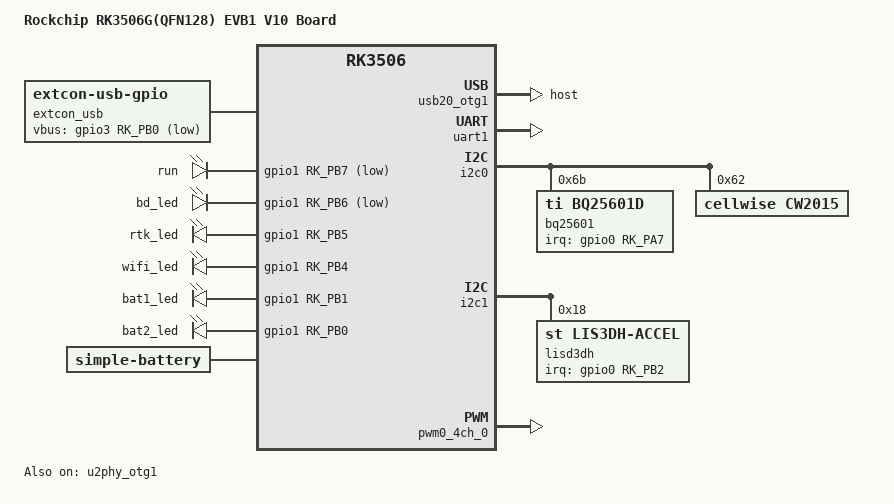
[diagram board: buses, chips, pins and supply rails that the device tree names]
// SPDX-License-Identifier: (GPL-2.0+ OR MIT)
/*
 * Copyright (c) 2024 Rockchip Electronics Co., Ltd.
 */

/dts-v1/;

#include "rk3506-my-base-nand.dtsi"

/ {
	model = "Rockchip RK3506G(QFN128) EVB1 V10 Board";
	compatible = "rockchip,rk3506g-evb1-v10", "rockchip,rk3506";

	chosen {
		bootargs = "earlycon=uart8250,mmio32,0xff0a0000 console=ttyFIQ0 ubi.mtd=2 root=ubi0:rootfs rw rootfstype=ubifs rootwait snd_aloop.index=7 snd_aloop.use_raw_jiffies=1";
	};

	extcon_usb: extcon-usb {
		compatible = "linux,extcon-usb-gpio";
		vbus-gpio = <&gpio3 RK_PB0 GPIO_ACTIVE_LOW>;
		pinctrl-names = "default";
		pinctrl-0 = <&usb_extcon_vbus>;
		status = "okay";
	};

	leds {
		compatible = "gpio-leds";
		status = "okay";
		heart_led: work_led1 {
			label = "run";
			gpios = <&gpio1 RK_PB7 GPIO_ACTIVE_LOW>;
			linux,default-trigger = "heartbeat";
			default-state = "off";
		};
		bd_led: work_led2 {
			label = "bd_led";
			linux,default-trigger = "none";
			default-state = "off";
			gpios = <&gpio1 RK_PB6 GPIO_ACTIVE_LOW>;
		};

		rtk_led: work_led3 {
			label = "rtk_led";
			linux,default-trigger = "none";
			default-state = "off";
			gpios = <&gpio1 RK_PB5 GPIO_ACTIVE_HIGH>;
		};
		wifi_led: work_led4 {
			label = "wifi_led";
			linux,default-trigger = "none";
			default-state = "on";
			gpios = <&gpio1 RK_PB4 GPIO_ACTIVE_HIGH>;
		};

		bat1_led: work_led5 {
			label = "bat1_led";
			linux,default-trigger = "none";
			default-state = "off";
			gpios = <&gpio1 RK_PB1 GPIO_ACTIVE_HIGH>;
		};

		bat2_led: work_led6 {
			label = "bat2_led";
			linux,default-trigger = "none";
			default-state = "off";
			gpios = <&gpio1 RK_PB0 GPIO_ACTIVE_HIGH>;
		};
	};

	bat: battery {
		compatible = "simple-battery";
		constant-charge-current-max-microamp = <2040000>;
		constant-charge-voltage-max-microvolt = <4352000>;
		precharge-current-microamp = <180000>;
		charge-term-current-microamp = <180000>;
	};
};

&pinctrl {
	usb {
		usb_extcon_vbus: usb-extcon-vbus {
			rockchip,pins = <3 RK_PB0 RK_FUNC_GPIO &pcfg_pull_none>;
		};
	};

	bq25601 {
		bq25601_int: bq25601-int {
			rockchip,pins = <0 RK_PA7 RK_FUNC_GPIO &pcfg_pull_up>;
		};
	};

	lis3dh {
		lis3dh_int1: lis3dh-int1 {
			rockchip,pins = <0 RK_PB2 RK_FUNC_GPIO &pcfg_pull_none>;
		};
	};
};

&usb2phy {
	extcon = <&extcon_usb>;
};

&u2phy_otg0 {
	rockchip,gpio-vbus-det;
};

&u2phy_otg1 {
	status = "okay";
};

&usb20_otg1 {
	dr_mode = "host";
	status = "okay";
};

&uart1 {
	pinctrl-names = "default";
	pinctrl-0 = <&rm_io16_uart1_rx &rm_io17_uart1_tx>;
	dma-names = "tx", "rx";
	status = "okay";
};

&i2c0 {
	status = "okay";
	pinctrl-names = "default";
	pinctrl-0 = <&rm_io4_i2c0_scl &rm_io5_i2c0_sda>;

	bq25601: charger@6b {
		compatible = "ti,bq25601d";
		reg = <0x6b>;

		interrupt-parent = <&gpio0>;
		interrupts = <RK_PA7 IRQ_TYPE_EDGE_FALLING>;
		pinctrl-names = "default";
		pinctrl-0 = <&bq25601_int>;

		monitored-battery = <&bat>;

		ti,watchdog-timeout-ms = <0>;
		input-voltage-limit-microvolt = <4500000>;
		input-current-limit-microamp = <2400000>;
	};

	/* CellWise CW2015 Battery Fuel Gauge */
	cw2015: cw2015@62 {
		compatible = "cellwise,cw2015";
		reg = <0x62>;
		cellwise,battery-profile = /bits/ 8 <
				0x17 0x67 0x80 0x73 0x6E 0x6C 0x6B 0x63
				0x77 0x51 0x5C 0x58 0x50 0x4C 0x48 0x36
				0x15 0x0C 0x0C 0x19 0x5B 0x7D 0x6F 0x69
				0x69 0x5B 0x0C 0x29 0x20 0x40 0x52 0x59
				0x57 0x56 0x54 0x4F 0x3B 0x1F 0x7F 0x17
				0x06 0x1A 0x30 0x5A 0x85 0x93 0x96 0x2D
				0x48 0x77 0x9C 0xB3 0x80 0x52 0x94 0xCB
				0x2F 0x00 0x64 0xA5 0xB5 0x11 0xF0 0x11
		>;
		cellwise,monitor-interval-ms = <5000>; /* 监控间隔 */
	};
};

&i2c1 {
	pinctrl-names = "default";
	pinctrl-0 = <&rm_io25_i2c1_scl &rm_io26_i2c1_sda>;
	status = "okay";

	lisd3dh@18 {
		status = "okay";
		compatible = "st,lis3dh-accel";
		st,drdy-int-pin = <1>;
		reg = <0x18>;
		interrupt-parent = <&gpio0>;
		interrupts = <RK_PB2 IRQ_TYPE_EDGE_RISING>;
		pinctrl-names = "default";
		pinctrl-0 = <&lis3dh_int1>;
		irq-gpio = <&gpio0 RK_PB2 IRQ_TYPE_EDGE_RISING>;

		mount-matrix = "0", "1", "0",
						"-1", "0", "0",
						"0", "0", "1";
	};
};

&pwm0_4ch_0 {
	status = "okay";
};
